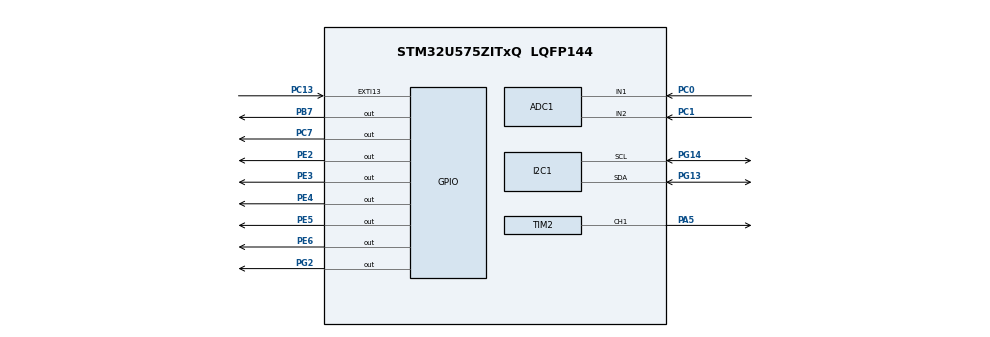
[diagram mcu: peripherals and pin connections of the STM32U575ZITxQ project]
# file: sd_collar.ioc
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ADC1.NbrOfConversion=1
ADC1.master=1
CORTEX_M33_NS.userName=CORTEX_M33
I2C1.Timing=0x00000E14
Mcu.Family=STM32U5
Mcu.Name=STM32U575ZITxQ
Mcu.Package=LQFP144
NUCLEO-U575ZI-Q.BUTTON=1
NUCLEO-U575ZI-Q.LD1=true
NUCLEO-U575ZI-Q.LD2=true
NUCLEO-U575ZI-Q.LD3=true
NUCLEO-U575ZI-Q.VCP=true
NVIC.EXTI13_IRQn=true\:0\:0\:false\:false\:true\:false\:true\:true
NVIC.PriorityGroup=NVIC_PRIORITYGROUP_3
NVIC.TIM17_IRQn=true\:7\:0\:false\:false\:true\:false\:true\:true
NVIC.TimeBase=TIM17_IRQn
NVIC.TimeBaseIP=TIM17
PA1.Signal=I2C1_SMBA
PA10.Signal=USART1_RX
PA13\ (JTMS/SWDIO).Signal=DEBUG_JTMS-SWDIO
PA14\ (JTCK/SWCLK).Signal=DEBUG_JTCK-SWCLK
PA5.Signal=S_TIM2_CH1
PA9.Signal=USART1_TX
PB3\ (JTDO/TRACESWO).Signal=DEBUG_JTDO-SWO
PB7.Signal=GPIO_Output
PC0.Mode=IN1-Differential
PC0.Signal=ADC1_IN1
PC1.Mode=IN1-Differential
PC1.Signal=ADC1_IN2
PC13.Signal=GPXTI13
PC14-OSC32_IN\ (PC14).Signal=RCC_OSC32_IN
PC15-OSC32_OUT\ (PC15).Signal=RCC_OSC32_OUT
PC7.Signal=GPIO_Output
PE2.Signal=GPIO_Output
PE3.Signal=GPIO_Output
PE4.Signal=GPIO_Output
PE5.Signal=GPIO_Output
PE6.Signal=GPIO_Output
PG13.Mode=I2C
PG13.Signal=I2C1_SDA
PG14.Mode=I2C
PG14.Signal=I2C1_SCL
PG2.Signal=GPIO_Output
PG7.Signal=LPUART1_TX
PG8.Signal=LPUART1_RX
PWR.PowerMode=PWR_SMPS_SUPPLY
ProjectManager.HeapSize=0x200
ProjectManager.StackSize=0x400
ProjectManager.TargetToolchain=STM32CubeIDE
RCC.ADCFreq_Value=16000000
RCC.DACCLockSelectionVirtual=RCC_DAC1CLKSOURCE_LSI
RCC.EPOD_VALUE=4000000
RCC.HSE_VALUE=16000000
RCC.HSI48_VALUE=48000000
RCC.HSI_VALUE=16000000
RCC.LSE_VALUE=32768
RCC.LSIDIV_VALUE=32000
RCC.MSI_VALUE=4000000
RCC.USBFreq_Value=48000000
RCC.VCOOutputFreq_Value=516000000
SH.S_TIM2_CH1.0=TIM2_CH1,PWM Generation1 CH1
TIM2.Channel-PWM\ Generation1\ CH1=TIM_CHANNEL_1
TIM2.PeriodNoDither=2114
TIM2.Prescaler=1
VP_ICACHE_VS_ENABLE_ICACHE_MEMORY.Mode=Memoryregions
VP_ICACHE_VS_ICACHE.Mode=DirectMappedCache
VP_LPBAMQUEUE_VS_QUEUE.Mode=QUEUEMODE
VP_LPBAM_VS_SIG1.Mode=SmartRun
VP_LPBAM_VS_SIG4.Mode=LPDMA1
VP_MEMORYMAP_VS_MEMORYMAP.Mode=CurAppReg
VP_NUCLEO-U575ZI-Q_VS_BSP_COMMON.Mode=COMMON
VP_PWR_VS_DBSignals.Mode=DisableDeadBatterySignals
VP_PWR_VS_LPOM.Mode=PowerOptimisation
VP_PWR_VS_SECSignals.Mode=Security/Privilege
VP_PWR_Vdda.Mode=isolationVdda
VP_SYS_VS_tim17.Mode=TIM17
VP_TIM2_VS_ClockSourceINT.Mode=Internal
board=NUCLEO-U575ZI-Q

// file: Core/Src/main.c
/* USER CODE BEGIN Header */
/**
  ******************************************************************************
  * @file           : main.c
  * @brief          : Main program body
  ******************************************************************************
  * @attention
  *
  * Copyright (c) 2025 STMicroelectronics.
  * All rights reserved.
  *
  * This software is licensed under terms that can be found in the LICENSE file
  * in the root directory of this software component.
  * If no LICENSE file comes with this software, it is provided AS-IS.
  *
  ******************************************************************************
  */
/* USER CODE END Header */
#include "main.h"

/* USER CODE BEGIN Includes */

#include "stdio.h"
#include "stdint.h"

#include "motor_control.h"
#include "i2c.h"

uint8_t user_button = 0;

/* USER CODE END Includes */

COM_InitTypeDef BspCOMInit;
ADC_HandleTypeDef hadc1;

I2C_HandleTypeDef hi2c1;

TIM_HandleTypeDef htim2;

void SystemClock_Config(void);
static void SystemPower_Config(void);
static void MX_GPIO_Init(void);
static void MX_ICACHE_Init(void);
static void MX_TIM2_Init(void);
static void MX_ADC1_Init(void);
static void MX_I2C1_Init(void);

int main(void)
{

  /* MCU Configuration--------------------------------------------------------*/

  /* Reset of all peripherals, Initializes the Flash interface and the Systick. */
  HAL_Init();

  /* Configure the System Power */
  SystemPower_Config();

  /* Configure the system clock */
  SystemClock_Config();

  /* Initialize all configured peripherals */
  MX_GPIO_Init();
  MX_ICACHE_Init();
  MX_TIM2_Init();
  MX_ADC1_Init();
  MX_I2C1_Init();

  /* Initialize leds */
  BSP_LED_Init(LED_GREEN);
  BSP_LED_Init(LED_BLUE);
  BSP_LED_Init(LED_RED);

  /* Initialize USER push-button, will be used to trigger an interrupt each time it's pressed.*/
  BSP_PB_Init(BUTTON_USER, BUTTON_MODE_EXTI);

  /* Initialize COM1 port (115200, 8 bits (7-bit data + 1 stop bit), no parity */
  BspCOMInit.BaudRate   = 115200;
  BspCOMInit.WordLength = COM_WORDLENGTH_8B;
  BspCOMInit.StopBits   = COM_STOPBITS_1;
  BspCOMInit.Parity     = COM_PARITY_NONE;
  BspCOMInit.HwFlowCtl  = COM_HWCONTROL_NONE;
  if (BSP_COM_Init(COM1, &BspCOMInit) != BSP_ERROR_NONE)
  {
    Error_Handler();
  }

  /* Infinite loop */
  /* USER CODE BEGIN WHILE */
  uint8_t led_count = 3;
  uint8_t leds[] = {LED_GREEN, LED_BLUE, LED_RED};
  for (int i = 0; i < led_count; i++){
	  BSP_LED_On(leds[i]);
	  HAL_Delay(200);
  }

  Motor_SetSpeed(0);
  Motor_Initialize();
  Lock_Initialize();
  I2C_Initialize();
  HAL_TIM_PWM_Start(&htim2, TIM_CHANNEL_1);

  while (1)
  {
	  if (user_button == 1){
		  // I2C Testing
		  I2C_Send_Data();

		  user_button = 0;
	  }
    /* USER CODE END WHILE */

  }
}

void SystemClock_Config(void)
{
  RCC_OscInitTypeDef RCC_OscInitStruct = {0};
  RCC_ClkInitTypeDef RCC_ClkInitStruct = {0};

  /** Configure the main internal regulator output voltage
  */
  if (HAL_PWREx_ControlVoltageScaling(PWR_REGULATOR_VOLTAGE_SCALE4) != HAL_OK)
  {
    Error_Handler();
  }

  /** Initializes the CPU, AHB and APB buses clocks
  */
  RCC_OscInitStruct.OscillatorType = RCC_OSCILLATORTYPE_HSI|RCC_OSCILLATORTYPE_MSI;
  RCC_OscInitStruct.HSIState = RCC_HSI_ON;
  RCC_OscInitStruct.HSICalibrationValue = RCC_HSICALIBRATION_DEFAULT;
  RCC_OscInitStruct.MSIState = RCC_MSI_ON;
  RCC_OscInitStruct.MSICalibrationValue = RCC_MSICALIBRATION_DEFAULT;
  RCC_OscInitStruct.MSIClockRange = RCC_MSIRANGE_4;
  RCC_OscInitStruct.PLL.PLLState = RCC_PLL_NONE;
  if (HAL_RCC_OscConfig(&RCC_OscInitStruct) != HAL_OK)
  {
    Error_Handler();
  }

  /** Initializes the CPU, AHB and APB buses clocks
  */
  RCC_ClkInitStruct.ClockType = RCC_CLOCKTYPE_HCLK|RCC_CLOCKTYPE_SYSCLK
                              |RCC_CLOCKTYPE_PCLK1|RCC_CLOCKTYPE_PCLK2
                              |RCC_CLOCKTYPE_PCLK3;
  RCC_ClkInitStruct.SYSCLKSource = RCC_SYSCLKSOURCE_MSI;
  RCC_ClkInitStruct.AHBCLKDivider = RCC_SYSCLK_DIV1;
  RCC_ClkInitStruct.APB1CLKDivider = RCC_HCLK_DIV1;
  RCC_ClkInitStruct.APB2CLKDivider = RCC_HCLK_DIV1;
  RCC_ClkInitStruct.APB3CLKDivider = RCC_HCLK_DIV1;

  if (HAL_RCC_ClockConfig(&RCC_ClkInitStruct, FLASH_LATENCY_0) != HAL_OK)
  {
    Error_Handler();
  }
}

/**
  * @brief Power Configuration
  * @retval None
  */
static void SystemPower_Config(void)
{
  HAL_PWREx_EnableVddIO2();

  /*
   * Disable the internal Pull-Up in Dead Battery pins of UCPD peripheral
   */
  HAL_PWREx_DisableUCPDDeadBattery();

  /*
   * Switch to SMPS regulator instead of LDO
   */
  if (HAL_PWREx_ConfigSupply(PWR_SMPS_SUPPLY) != HAL_OK)
  {
    Error_Handler();
  }
}

static void MX_ADC1_Init(void)
{

  /** Common config
  */
  hadc1.Instance = ADC1;
  hadc1.Init.ClockPrescaler = ADC_CLOCK_ASYNC_DIV1;
  hadc1.Init.Resolution = ADC_RESOLUTION_14B;
  hadc1.Init.GainCompensation = 0;
  hadc1.Init.ScanConvMode = ADC_SCAN_DISABLE;
  hadc1.Init.EOCSelection = ADC_EOC_SINGLE_CONV;
  hadc1.Init.LowPowerAutoWait = DISABLE;
  hadc1.Init.ContinuousConvMode = DISABLE;
  hadc1.Init.NbrOfConversion = 1;
  hadc1.Init.DiscontinuousConvMode = DISABLE;
  hadc1.Init.DMAContinuousRequests = DISABLE;
  hadc1.Init.TriggerFrequencyMode = ADC_TRIGGER_FREQ_HIGH;
  hadc1.Init.Overrun = ADC_OVR_DATA_PRESERVED;
  hadc1.Init.LeftBitShift = ADC_LEFTBITSHIFT_NONE;
  hadc1.Init.ConversionDataManagement = ADC_CONVERSIONDATA_DR;
  hadc1.Init.OversamplingMode = DISABLE;
  if (HAL_ADC_Init(&hadc1) != HAL_OK)
  {
    Error_Handler();
  }

}

static void MX_I2C1_Init(void)
{

  hi2c1.Instance = I2C1;
  hi2c1.Init.Timing = 0x00000E14;
  hi2c1.Init.OwnAddress1 = 0;
  hi2c1.Init.AddressingMode = I2C_ADDRESSINGMODE_7BIT;
  hi2c1.Init.DualAddressMode = I2C_DUALADDRESS_DISABLE;
  hi2c1.Init.OwnAddress2 = 0;
  hi2c1.Init.OwnAddress2Masks = I2C_OA2_NOMASK;
  hi2c1.Init.GeneralCallMode = I2C_GENERALCALL_DISABLE;
  hi2c1.Init.NoStretchMode = I2C_NOSTRETCH_DISABLE;
  if (HAL_I2C_Init(&hi2c1) != HAL_OK)
  {
    Error_Handler();
  }

  /** Configure Analogue filter
  */
  if (HAL_I2CEx_ConfigAnalogFilter(&hi2c1, I2C_ANALOGFILTER_ENABLE) != HAL_OK)
  {
    Error_Handler();
  }

  /** Configure Digital filter
  */
  if (HAL_I2CEx_ConfigDigitalFilter(&hi2c1, 0) != HAL_OK)
  {
    Error_Handler();
  }

}

static void MX_ICACHE_Init(void)
{

  /** Enable instruction cache in 1-way (direct mapped cache)
  */
  if (HAL_ICACHE_ConfigAssociativityMode(ICACHE_1WAY) != HAL_OK)
  {
    Error_Handler();
  }
  if (HAL_ICACHE_Enable() != HAL_OK)
  {
    Error_Handler();
  }

}

static void MX_TIM2_Init(void)
{

  TIM_ClockConfigTypeDef sClockSourceConfig = {0};
  TIM_MasterConfigTypeDef sMasterConfig = {0};
  TIM_OC_InitTypeDef sConfigOC = {0};

  htim2.Instance = TIM2;
  htim2.Init.Prescaler = 1;
  htim2.Init.CounterMode = TIM_COUNTERMODE_UP;
  htim2.Init.Period = 2114;
  htim2.Init.ClockDivision = TIM_CLOCKDIVISION_DIV1;
  htim2.Init.AutoReloadPreload = TIM_AUTORELOAD_PRELOAD_DISABLE;
  if (HAL_TIM_Base_Init(&htim2) != HAL_OK)
  {
    Error_Handler();
  }
  sClockSourceConfig.ClockSource = TIM_CLOCKSOURCE_INTERNAL;
  if (HAL_TIM_ConfigClockSource(&htim2, &sClockSourceConfig) != HAL_OK)
  {
    Error_Handler();
  }
  if (HAL_TIM_PWM_Init(&htim2) != HAL_OK)
  {
    Error_Handler();
  }
  sMasterConfig.MasterOutputTrigger = TIM_TRGO_RESET;
  sMasterConfig.MasterSlaveMode = TIM_MASTERSLAVEMODE_DISABLE;
  if (HAL_TIMEx_MasterConfigSynchronization(&htim2, &sMasterConfig) != HAL_OK)
  {
    Error_Handler();
  }
  sConfigOC.OCMode = TIM_OCMODE_PWM1;
  sConfigOC.Pulse = 0;
  sConfigOC.OCPolarity = TIM_OCPOLARITY_HIGH;
  sConfigOC.OCFastMode = TIM_OCFAST_DISABLE;
  if (HAL_TIM_PWM_ConfigChannel(&htim2, &sConfigOC, TIM_CHANNEL_1) != HAL_OK)
  {
    Error_Handler();
  }
  HAL_TIM_MspPostInit(&htim2);

}

static void MX_GPIO_Init(void)
{
  GPIO_InitTypeDef GPIO_InitStruct = {0};

  /* GPIO Ports Clock Enable */
  __HAL_RCC_GPIOE_CLK_ENABLE();
  __HAL_RCC_GPIOC_CLK_ENABLE();
  __HAL_RCC_GPIOA_CLK_ENABLE();
  __HAL_RCC_GPIOG_CLK_ENABLE();
  __HAL_RCC_GPIOB_CLK_ENABLE();

  /*Configure GPIO pin Output Level */
  HAL_GPIO_WritePin(GPIOE, GPIO_PIN_2|GPIO_PIN_3|GPIO_PIN_4|GPIO_PIN_5
                          |GPIO_PIN_6, GPIO_PIN_RESET);

  /*Configure GPIO pins : PE2 PE3 PE4 PE5
                           PE6 */
  GPIO_InitStruct.Pin = GPIO_PIN_2|GPIO_PIN_3|GPIO_PIN_4|GPIO_PIN_5
                          |GPIO_PIN_6;
  GPIO_InitStruct.Mode = GPIO_MODE_OUTPUT_PP;
  GPIO_InitStruct.Pull = GPIO_NOPULL;
  GPIO_InitStruct.Speed = GPIO_SPEED_FREQ_LOW;
  HAL_GPIO_Init(GPIOE, &GPIO_InitStruct);

  /*Configure GPIO pins : PG7 PG8 */
  GPIO_InitStruct.Pin = GPIO_PIN_7|GPIO_PIN_8;
  GPIO_InitStruct.Mode = GPIO_MODE_AF_PP;
  GPIO_InitStruct.Pull = GPIO_NOPULL;
  GPIO_InitStruct.Speed = GPIO_SPEED_FREQ_LOW;
  GPIO_InitStruct.Alternate = GPIO_AF8_LPUART1;
  HAL_GPIO_Init(GPIOG, &GPIO_InitStruct);

}

void HAL_TIM_PeriodElapsedCallback(TIM_HandleTypeDef *htim)
{
  if (htim->Instance == TIM17)
  {
    HAL_IncTick();
  }
}

void Error_Handler(void)
{
  __disable_irq();
  while (1)
  {
  }
}
